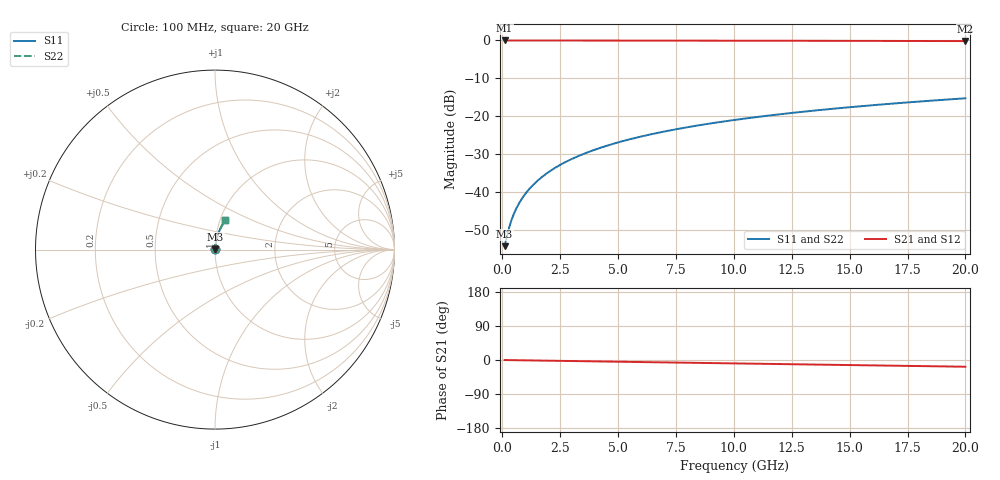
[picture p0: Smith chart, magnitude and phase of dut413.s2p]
! Touchstone file exported from HFSS 2026.1.0
!  File:  C:/ffzhzh/LocalFiles/Ansys_Project_Files/temp_train_BSMRDL_413_1783012598_51716.aedt
!  Generated:  01:18:08 AM Jul  3, 2026
!  Design:  BSMRDL
!  Project:  temp_train_BSMRDL_413_1783012598_51716
! Variables:
!  h_bsmrdl = 2.6um
!  h_ox = 20um
!  h_rdl = 5um
!  h_sub = 80um
!  h_tmrdl = 5um
!  h_tsv = 80um
!  h_via = 3um
!  l_bsmrdl = 225.95um
!  l_sub = 625.95um
!  l_tmrdl = 200um
!  m_sub = 200um
!  pitch = 44.49um
!  r_tsv = 6um
!  s_tmrdl = 10um
!  w_bsmrdl = 22.73um
!  w_sub = 500um
!  w_tmrdl = 12um
!  x_tsv_center1 = 206um
!  x_tsv_center2 = 454.68um
!  x_tsv_center3 = 666.68um
!  x_tsv_center4 = 915.36um
!  x_tsv_center5 = 1127.36um
!  x_tsv_center6 = 1376.04um
# GHz S MA R 50.000000
! Terminal data exported
! Port[1] = BSM_RDL1_1_T1
! Port[2] = BSM_RDL1_1_T2
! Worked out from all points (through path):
!   200 points, 100 MHz to 20 GHz, reference 50 ohm
!   highest |S21| = -0.01 dB at 100 MHz (marker M1); lowest = -0.2 dB at 20 GHz (marker M2)
!   group delay of S21, straight-line fit = 2.46 ps
!   lowest |S11| = -54.2 dB at 100 MHz (marker M3), VSWR 1.00, Z = 50.2 + j0.101 ohm
!   |S11| at or under -10 dB: start of sweep to end of sweep
!   |S22| runs from -54.2 to -15.2 dB; largest |S21 - S12| = 4.3e-15
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0.1  0.001955 31.1  0.9983 -0.1  0.9983 -0.1  0.001955 31.1
! Gamma 0 0 0 0
! Port Impedance 50 0 50 0
0.2  0.002644 49.2  0.9983 -0.2  0.9983 -0.2  0.002644 49.2
0.3  0.003471 58.7  0.9982 -0.3  0.9982 -0.3  0.003471 58.7
0.4  0.004337 64.3  0.9981 -0.4  0.9981 -0.4  0.004337 64.3
0.5  0.005211 67.9  0.9981 -0.5  0.9981 -0.5  0.005211 67.9
0.6  0.006085 70.5  0.998 -0.6  0.998 -0.6  0.006085 70.5
0.8  0.007834 74.0  0.9979 -0.7  0.9979 -0.7  0.007834 74.0
1.1  0.01047 77.2  0.9978 -1.0  0.9978 -1.0  0.01047 77.2
1.3  0.01224 78.5  0.9978 -1.2  0.9978 -1.2  0.01224 78.5
1.6  0.0149 79.9  0.9977 -1.5  0.9977 -1.5  0.0149 79.9
2.1  0.01937 81.3  0.9975 -1.9  0.9975 -1.9  0.01937 81.3
2.7  0.02476 82.1  0.9974 -2.5  0.9974 -2.5  0.02476 82.1
3.5  0.03195 82.4  0.9971 -3.2  0.9971 -3.2  0.03195 82.4
4.2  0.03823 82.4  0.9967 -3.8  0.9967 -3.8  0.03823 82.4
5  0.0454 82.1  0.9963 -4.5  0.9963 -4.5  0.0454 82.1
5.9  0.05343 81.6  0.9957 -5.3  0.9957 -5.3  0.05343 81.6
6.8  0.06142 81.0  0.9951 -6.2  0.9951 -6.2  0.06142 81.0
8.3  0.07464 80.0  0.9939 -7.5  0.9939 -7.5  0.07464 80.0
10.1  0.09033 78.6  0.9922 -9.1  0.9922 -9.1  0.09033 78.6
13.4  0.1186 75.9  0.9886 -12.0  0.9886 -12.0  0.1186 75.9
16.7  0.1461 73.1  0.9843 -14.9  0.9843 -14.9  0.1461 73.2
20  0.1728 70.4  0.9794 -17.7  0.9794 -17.7  0.1728 70.4
